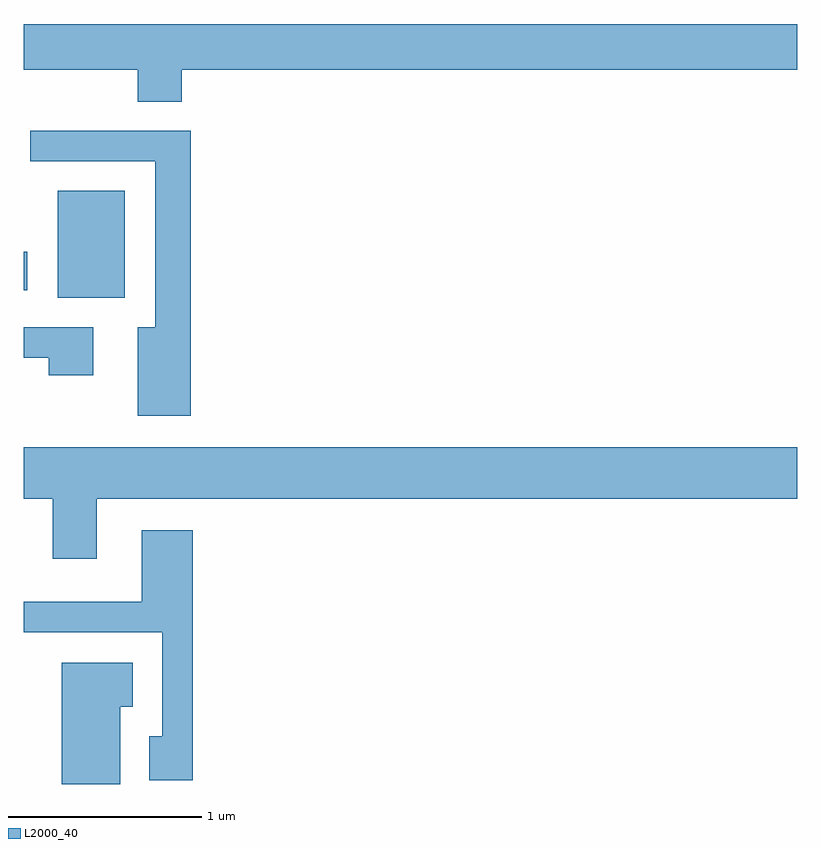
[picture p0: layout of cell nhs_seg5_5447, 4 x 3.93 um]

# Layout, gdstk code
import gdstk
lib = gdstk.Library(unit=1e-6, precision=1e-09)
def R(c, l, rs):  # rectangles x0, y0, x1, y1
    for r in rs: c.add(gdstk.rectangle(r[:2], r[2:], *l))
def P(c, l, *ps):  # polygons
    for p in ps: c.add(gdstk.Polygon(p, *l))
L2000_40 = (2000, 40)

nhs_seg5_5447 = lib.new_cell('nhs_seg5_5447')
R(nhs_seg5_5447, L2000_40, [(345.786,1526.656,346.134,1527.209), (345.611,1526.696,345.629,1526.894)])
P(nhs_seg5_5447, L2000_40, [(346.429,1527.836),(349.611,1527.836),(349.611,1528.072),(345.611,1528.072),(345.611,1527.836),(346.201,1527.836),(346.201,1527.671),(346.429,1527.671)],
  [(346.474,1527.519),(345.643,1527.519),(345.643,1527.361),(346.291,1527.361),(346.291,1526.504),(346.201,1526.504),(346.201,1526.046),(346.474,1526.046)],
  [(345.969,1526.504),(345.611,1526.504),(345.611,1526.346),(345.741,1526.346),(345.741,1526.256),(345.969,1526.256)],
  [(345.989,1525.616),(349.611,1525.616),(349.611,1525.884),(345.611,1525.884),(345.611,1525.616),(345.761,1525.616),(345.761,1525.306),(345.989,1525.306)],
  [(346.484,1525.454),(346.221,1525.454),(346.221,1525.084),(345.611,1525.084),(345.611,1524.926),(346.326,1524.926),(346.326,1524.389),(346.261,1524.389),(346.261,1524.161),(346.484,1524.161)],
  [(346.109,1524.541),(346.174,1524.541),(346.174,1524.769),(345.806,1524.769),(345.806,1524.141),(346.109,1524.141)])

lib.write_gds('nhs_seg5_5447.gds')
